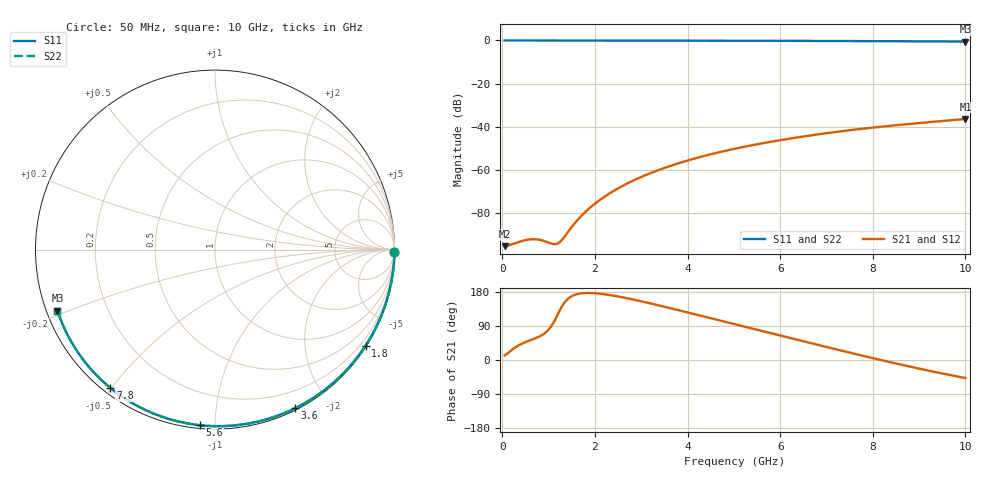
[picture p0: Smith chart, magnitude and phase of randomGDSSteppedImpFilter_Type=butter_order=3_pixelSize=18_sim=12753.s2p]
! freq	dB(S11)	phase(S11)	dB(S12)	phase(S12)
!  dB(S21)	phase(S21)	dB(S22)	phase(S22)
!S-par simulation data
#  GHz  S  DB  R 50
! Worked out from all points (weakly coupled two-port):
!   200 points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, 50 MHz to 10 GHz, reference 50 ohm
!   highest |S21| = -36.41 dB at 10 GHz (marker M1); lowest = -95.4 dB at 50 MHz (marker M2)
!   lowest |S11| = -0.5 dB at 10 GHz (marker M3), VSWR 33.05, Z = 1.57 - j9.35 ohm
!   |S11| at or under -10 dB: nowhere
!   |S22| runs from -0.5 to 0.0 dB; largest |S21 - S12| = 0
!   S11 on the Smith chart (normalised r, x): 50 MHz: open; 1.8 GHz: 0.03, -3.43; 3.6 GHz: 0.02, -1.62; 5.6 GHz: 0.02, -0.92; 7.8 GHz: 0.02, -0.50; 10 GHz: 0.03, -0.19
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0.05  -0.00 -0.9  -95.44 12.0  -95.44 12.0  -0.00 -0.9
0.45  -0.01 -8.3  -92.89 44.6  -92.89 44.6  -0.01 -8.3
0.85  -0.02 -15.5  -92.68 65.3  -92.68 65.3  -0.02 -15.5
1.3  -0.03 -23.6  -92.23 144.0  -92.23 144.0  -0.03 -23.6
1.75  -0.04 -31.6  -80.44 176.5  -80.44 176.5  -0.04 -31.6
1.8  -0.04 -32.5  -79.40 176.9  -79.40 176.9  -0.04 -32.5
1.95  -0.04 -35.1  -76.58 176.6  -76.58 176.6  -0.04 -35.1
2.1  -0.05 -37.8  -74.09 175.1  -74.09 175.1  -0.05 -37.8
2.3  -0.05 -41.2  -71.18 171.8  -71.18 171.8  -0.05 -41.2
2.5  -0.06 -44.7  -68.62 167.6  -68.62 167.6  -0.06 -44.7
2.9  -0.07 -51.5  -64.29 157.6  -64.29 157.6  -0.07 -51.5
3.4  -0.08 -59.9  -59.91 143.5  -59.91 143.5  -0.08 -59.9
3.6  -0.09 -63.3  -58.40 137.6  -58.40 137.6  -0.09 -63.3
4.25  -0.10 -73.8  -54.20 117.9  -54.20 117.9  -0.10 -73.8
5.05  -0.13 -86.4  -50.11 93.4  -50.11 93.4  -0.13 -86.4
5.6  -0.16 -94.8  -47.77 76.6  -47.77 76.6  -0.16 -94.8
6.15  -0.18 -103.1  -45.72 60.0  -45.72 60.0  -0.18 -103.1
6.7  -0.22 -111.2  -43.92 43.4  -43.92 43.4  -0.22 -111.2
7.8  -0.30 -127.1  -40.90 10.7  -40.90 10.7  -0.30 -127.0
8.35  -0.35 -134.9  -39.65 -5.0  -39.65 -5.0  -0.35 -134.9
9.2  -0.43 -147.1  -37.94 -28.0  -37.94 -28.0  -0.43 -147.1
10  -0.53 -158.8  -36.41 -47.6  -36.41 -47.6  -0.53 -158.8
